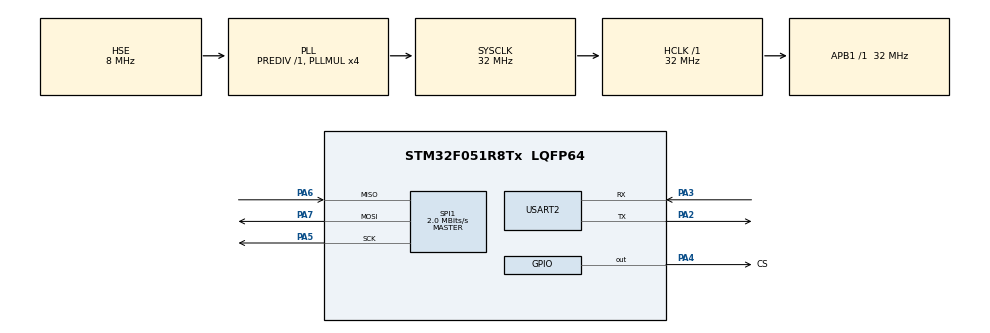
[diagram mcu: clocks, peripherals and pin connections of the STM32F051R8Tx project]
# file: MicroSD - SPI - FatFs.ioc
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Dma.Request0=SPI1_RX
Dma.Request1=SPI1_TX
Dma.SPI1_RX.0.Direction=DMA_PERIPH_TO_MEMORY
Dma.SPI1_RX.0.Instance=DMA1_Channel2
Dma.SPI1_RX.0.MemDataAlignment=DMA_MDATAALIGN_BYTE
Dma.SPI1_RX.0.MemInc=DMA_MINC_ENABLE
Dma.SPI1_RX.0.Mode=DMA_NORMAL
Dma.SPI1_RX.0.PeriphDataAlignment=DMA_PDATAALIGN_BYTE
Dma.SPI1_RX.0.PeriphInc=DMA_PINC_DISABLE
Dma.SPI1_RX.0.Priority=DMA_PRIORITY_LOW
Dma.SPI1_TX.1.Direction=DMA_MEMORY_TO_PERIPH
Dma.SPI1_TX.1.Instance=DMA1_Channel3
Dma.SPI1_TX.1.MemDataAlignment=DMA_MDATAALIGN_BYTE
Dma.SPI1_TX.1.MemInc=DMA_MINC_ENABLE
Dma.SPI1_TX.1.Mode=DMA_NORMAL
Dma.SPI1_TX.1.PeriphDataAlignment=DMA_PDATAALIGN_BYTE
Dma.SPI1_TX.1.PeriphInc=DMA_PINC_DISABLE
Dma.SPI1_TX.1.Priority=DMA_PRIORITY_LOW
FATFS._USE_LABEL=1
FATFS._USE_LFN=3
Mcu.Family=STM32F0
Mcu.Name=STM32F051R8Tx
Mcu.Package=LQFP64
NVIC.DMA1_Channel2_3_IRQn=true\:0\:0\:false\:false\:true\:false\:true\:true
PA13.Mode=Serial_Wire
PA13.Signal=SYS_SWDIO
PA14.Mode=Serial_Wire
PA14.Signal=SYS_SWCLK
PA2.Mode=Asynchronous
PA2.Signal=USART2_TX
PA3.Mode=Asynchronous
PA3.Signal=USART2_RX
PA4.GPIO_Label=CS
PA4.GPIO_Speed=GPIO_SPEED_FREQ_HIGH
PA4.PinState=GPIO_PIN_SET
PA4.Signal=GPIO_Output
PA5.Mode=Full_Duplex_Master
PA5.Signal=SPI1_SCK
PA6.Mode=Full_Duplex_Master
PA6.Signal=SPI1_MISO
PA7.Mode=Full_Duplex_Master
PA7.Signal=SPI1_MOSI
PF0-OSC_IN.Mode=HSE-External-Oscillator
PF0-OSC_IN.Signal=RCC_OSC_IN
PF1-OSC_OUT.Mode=HSE-External-Oscillator
PF1-OSC_OUT.Signal=RCC_OSC_OUT
ProjectManager.HeapSize=0x200
ProjectManager.StackSize=0x400
ProjectManager.TargetToolchain=STM32CubeIDE
RCC.AHBFreq_Value=32000000
RCC.APB1Freq_Value=32000000
RCC.APB1TimFreq_Value=32000000
RCC.HCLKFreq_Value=32000000
RCC.PLLMUL=RCC_PLL_MUL4
RCC.PLLSourceVirtual=RCC_PLLSOURCE_HSE
RCC.SYSCLKFreq_VALUE=32000000
RCC.SYSCLKSource=RCC_SYSCLKSOURCE_PLLCLK
SPI1.BaudRatePrescaler=SPI_BAUDRATEPRESCALER_16
SPI1.CalculateBaudRate=2.0 MBits/s
SPI1.DataSize=SPI_DATASIZE_8BIT
SPI1.Direction=SPI_DIRECTION_2LINES
SPI1.Mode=SPI_MODE_MASTER
SPI1.VirtualType=VM_MASTER
USART2.VirtualMode-Asynchronous=VM_ASYNC
VP_FATFS_VS_Generic.Mode=User_defined
board=custom

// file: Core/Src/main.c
/* USER CODE BEGIN Header */
/**
  ******************************************************************************
  * @file           : main.c
  * @brief          : Main program body
  ******************************************************************************
  * @attention
  *
  * Copyright (c) 2025 STMicroelectronics.
  * All rights reserved.
  *
  * This software is licensed under terms that can be found in the LICENSE file
  * in the root directory of this software component.
  * If no LICENSE file comes with this software, it is provided AS-IS.
  *
  ******************************************************************************
  */
/* USER CODE END Header */
#include "main.h"
#include "fatfs.h"

/* USER CODE BEGIN Includes */

#include "sd_functions.h"
#include "stdio.h"
#include <string.h>

/* USER CODE END Includes */

SPI_HandleTypeDef hspi1;
DMA_HandleTypeDef hdma_spi1_rx;
DMA_HandleTypeDef hdma_spi1_tx;

UART_HandleTypeDef huart2;

void SystemClock_Config(void);
static void MX_GPIO_Init(void);
static void MX_DMA_Init(void);
static void MX_SPI1_Init(void);
static void MX_USART2_UART_Init(void);

/* USER CODE BEGIN 0 */

int _write(int fd, unsigned char *buf, int len) {
  if (fd == 1 || fd == 2) {                     // stdout or stderr ?
    HAL_UART_Transmit(&huart2, buf, len, 999);  // Print to the UART
  }
  return len;
}

/* USER CODE END 0 */

int main(void)
{

  /* MCU Configuration--------------------------------------------------------*/

  /* Reset of all peripherals, Initializes the Flash interface and the Systick. */
  HAL_Init();

  /* Configure the system clock */
  SystemClock_Config();

  /* Initialize all configured peripherals */
  MX_GPIO_Init();
  MX_DMA_Init();
  MX_SPI1_Init();
  MX_USART2_UART_Init();
  /* USER CODE BEGIN 2 */

  const char *writingFolder;
  char folder_path[64];
  char fileName[32];

  writingFolder = get_folder_name_and_signal_led(); //Either "Test" or "Flight"
  sd_mount();
  sd_list_files();

  get_folder_path(folder_path, sizeof(folder_path), writingFolder);
  get_file_name(fileName, sizeof(fileName), writingFolder, folder_path);

  sd_write_file_with_directory(fileName, "Creado el:,", folder_path);
  sd_unmount();

  /* USER CODE END 2 */

  /* Infinite loop */
  while (1)
  {

  }
}

void SystemClock_Config(void)
{
  RCC_OscInitTypeDef RCC_OscInitStruct = {0};
  RCC_ClkInitTypeDef RCC_ClkInitStruct = {0};

  /** Initializes the RCC Oscillators according to the specified parameters
  * in the RCC_OscInitTypeDef structure.
  */
  RCC_OscInitStruct.OscillatorType = RCC_OSCILLATORTYPE_HSE;
  RCC_OscInitStruct.HSEState = RCC_HSE_ON;
  RCC_OscInitStruct.PLL.PLLState = RCC_PLL_ON;
  RCC_OscInitStruct.PLL.PLLSource = RCC_PLLSOURCE_HSE;
  RCC_OscInitStruct.PLL.PLLMUL = RCC_PLL_MUL4;
  RCC_OscInitStruct.PLL.PREDIV = RCC_PREDIV_DIV1;
  if (HAL_RCC_OscConfig(&RCC_OscInitStruct) != HAL_OK)
  {
    Error_Handler();
  }

  /** Initializes the CPU, AHB and APB buses clocks
  */
  RCC_ClkInitStruct.ClockType = RCC_CLOCKTYPE_HCLK|RCC_CLOCKTYPE_SYSCLK
                              |RCC_CLOCKTYPE_PCLK1;
  RCC_ClkInitStruct.SYSCLKSource = RCC_SYSCLKSOURCE_PLLCLK;
  RCC_ClkInitStruct.AHBCLKDivider = RCC_SYSCLK_DIV1;
  RCC_ClkInitStruct.APB1CLKDivider = RCC_HCLK_DIV1;

  if (HAL_RCC_ClockConfig(&RCC_ClkInitStruct, FLASH_LATENCY_1) != HAL_OK)
  {
    Error_Handler();
  }
}

static void MX_SPI1_Init(void)
{

  /* SPI1 parameter configuration*/
  hspi1.Instance = SPI1;
  hspi1.Init.Mode = SPI_MODE_MASTER;
  hspi1.Init.Direction = SPI_DIRECTION_2LINES;
  hspi1.Init.DataSize = SPI_DATASIZE_8BIT;
  hspi1.Init.CLKPolarity = SPI_POLARITY_LOW;
  hspi1.Init.CLKPhase = SPI_PHASE_1EDGE;
  hspi1.Init.NSS = SPI_NSS_SOFT;
  hspi1.Init.BaudRatePrescaler = SPI_BAUDRATEPRESCALER_16;
  hspi1.Init.FirstBit = SPI_FIRSTBIT_MSB;
  hspi1.Init.TIMode = SPI_TIMODE_DISABLE;
  hspi1.Init.CRCCalculation = SPI_CRCCALCULATION_DISABLE;
  hspi1.Init.CRCPolynomial = 7;
  hspi1.Init.CRCLength = SPI_CRC_LENGTH_DATASIZE;
  hspi1.Init.NSSPMode = SPI_NSS_PULSE_ENABLE;
  if (HAL_SPI_Init(&hspi1) != HAL_OK)
  {
    Error_Handler();
  }

}

static void MX_USART2_UART_Init(void)
{

  huart2.Instance = USART2;
  huart2.Init.BaudRate = 115200;
  huart2.Init.WordLength = UART_WORDLENGTH_8B;
  huart2.Init.StopBits = UART_STOPBITS_1;
  huart2.Init.Parity = UART_PARITY_NONE;
  huart2.Init.Mode = UART_MODE_TX_RX;
  huart2.Init.HwFlowCtl = UART_HWCONTROL_NONE;
  huart2.Init.OverSampling = UART_OVERSAMPLING_16;
  huart2.Init.OneBitSampling = UART_ONE_BIT_SAMPLE_DISABLE;
  huart2.AdvancedInit.AdvFeatureInit = UART_ADVFEATURE_NO_INIT;
  if (HAL_UART_Init(&huart2) != HAL_OK)
  {
    Error_Handler();
  }

}

static void MX_DMA_Init(void)
{

  /* DMA controller clock enable */
  __HAL_RCC_DMA1_CLK_ENABLE();

  /* DMA interrupt init */
  /* DMA1_Channel2_3_IRQn interrupt configuration */
  HAL_NVIC_SetPriority(DMA1_Channel2_3_IRQn, 0, 0);
  HAL_NVIC_EnableIRQ(DMA1_Channel2_3_IRQn);

}

static void MX_GPIO_Init(void)
{
  GPIO_InitTypeDef GPIO_InitStruct = {0};

  /* GPIO Ports Clock Enable */
  __HAL_RCC_GPIOF_CLK_ENABLE();
  __HAL_RCC_GPIOA_CLK_ENABLE();

  /*Configure GPIO pin Output Level */
  HAL_GPIO_WritePin(CS_GPIO_Port, CS_Pin, GPIO_PIN_SET);

  /*Configure GPIO pin : CS_Pin */
  GPIO_InitStruct.Pin = CS_Pin;
  GPIO_InitStruct.Mode = GPIO_MODE_OUTPUT_PP;
  GPIO_InitStruct.Pull = GPIO_NOPULL;
  GPIO_InitStruct.Speed = GPIO_SPEED_FREQ_HIGH;
  HAL_GPIO_Init(CS_GPIO_Port, &GPIO_InitStruct);

  /* USER CODE BEGIN MX_GPIO_Init_2 */

  RCC->AHBENR |= (1<<19); // Activar reloj de Perifericos PC

  GPIOC->MODER |= (1<<2*8); //PC8 como output, led de señal
  GPIOC->MODER &= ~(3<<2*0); //PC0 como input selección de modo de prueba y vuelo

  /* USER CODE END MX_GPIO_Init_2 */
}

void Error_Handler(void)
{
  __disable_irq();
  while (1)
  {
  }
}
